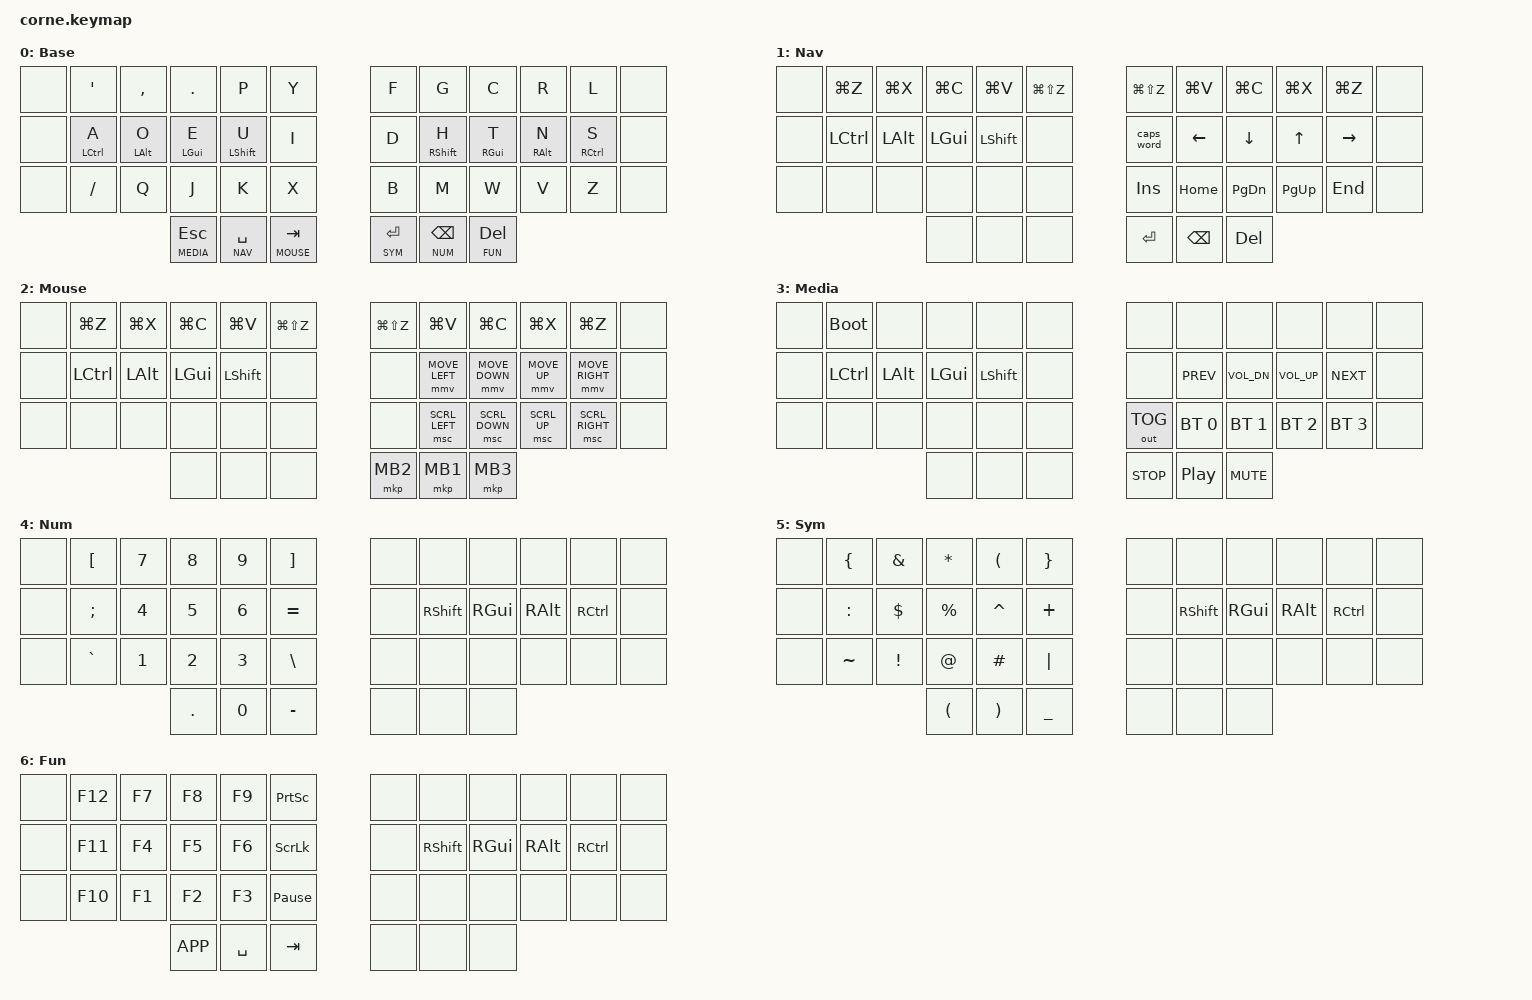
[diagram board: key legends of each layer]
/*
 * Copyright (c) 2020 The ZMK Contributors
 *
 * SPDX-License-Identifier: MIT
 */

#include <behaviors.dtsi>
#include <dt-bindings/zmk/bt.h>
#include <dt-bindings/zmk/keys.h>
#include <dt-bindings/zmk/mouse.h>
#include <dt-bindings/zmk/outputs.h>

// Layer indices
#define BASE  0
#define NAV   1
#define MOUSE 2
#define MEDIA 3
#define NUM   4
#define SYM   5
#define FUN   6

// macOS clipboard shortcuts (change LG to LC for Linux/Windows)
#define U_UNDO LG(Z)
#define U_REDO LG(LS(Z))
#define U_CUT  LG(X)
#define U_COPY LG(C)
#define U_PSTE LG(V)

/ {
    behaviors {
        hm: homerow_mods {
            compatible = "zmk,behavior-hold-tap";
            #binding-cells = <2>;
            flavor = "balanced";
            tapping-term-ms = <150>;
            quick-tap-ms = <50>;
            require-prior-idle-ms = <150>;
            bindings = <&kp>, <&kp>;
        };
    };

    keymap {
        compatible = "zmk,keymap";

        base_layer {
            display-name = "Base";
            bindings = <
&none  &kp SQT       &kp COMMA     &kp DOT       &kp P         &kp Y          &kp F        &kp G         &kp C         &kp R        &kp L        &none
&none  &hm LCTRL A   &hm LALT O    &hm LGUI E    &hm LSHFT U   &kp I          &kp D        &hm RSHFT H   &hm RGUI T    &hm RALT N   &hm RCTRL S  &none
&none  &kp FSLH      &kp Q         &kp J         &kp K         &kp X          &kp B        &kp M         &kp W         &kp V        &kp Z        &none
                                    &lt MEDIA ESC &lt NAV SPACE &lt MOUSE TAB  &lt SYM RET  &lt NUM BSPC  &lt FUN DEL
            >;
        };

        nav_layer {
            display-name = "Nav";
            bindings = <
&none  &kp U_UNDO &kp U_CUT  &kp U_COPY  &kp U_PSTE  &kp U_REDO   &kp U_REDO   &kp U_PSTE  &kp U_COPY  &kp U_CUT   &kp U_UNDO  &none
&none  &kp LCTRL  &kp LALT   &kp LGUI    &kp LSHFT   &none        &caps_word   &kp LEFT    &kp DOWN    &kp UP      &kp RIGHT   &none
&none  &none      &none      &none       &none       &none        &kp INS      &kp HOME    &kp PG_DN   &kp PG_UP   &kp END     &none
                              &none       &none       &none        &kp RET      &kp BSPC    &kp DEL
            >;
        };

        mouse_layer {
            display-name = "Mouse";
            bindings = <
&none  &kp U_UNDO &kp U_CUT  &kp U_COPY  &kp U_PSTE  &kp U_REDO   &kp U_REDO      &kp U_PSTE      &kp U_COPY      &kp U_CUT       &kp U_UNDO      &none
&none  &kp LCTRL  &kp LALT   &kp LGUI    &kp LSHFT   &none        &none           &mmv MOVE_LEFT  &mmv MOVE_DOWN  &mmv MOVE_UP    &mmv MOVE_RIGHT &none
&none  &none      &none      &none       &none       &none        &none           &msc SCRL_LEFT  &msc SCRL_DOWN  &msc SCRL_UP    &msc SCRL_RIGHT &none
                              &none       &none       &none        &mkp MB2        &mkp MB1        &mkp MB3
            >;
        };

        media_layer {
            display-name = "Media";
            bindings = <
&none  &bootloader &none      &none       &none       &none        &none          &none          &none          &none          &none          &none
&none  &kp LCTRL   &kp LALT   &kp LGUI    &kp LSHFT   &none        &none          &kp C_PREV     &kp C_VOL_DN   &kp C_VOL_UP   &kp C_NEXT     &none
&none  &none       &none      &none       &none       &none        &out OUT_TOG   &bt BT_SEL 0   &bt BT_SEL 1   &bt BT_SEL 2   &bt BT_SEL 3   &none
                              &none       &none       &none        &kp C_STOP     &kp C_PP       &kp C_MUTE
            >;
        };

        num_layer {
            display-name = "Num";
            bindings = <
&none  &kp LBKT   &kp N7     &kp N8      &kp N9      &kp RBKT     &none       &none       &none       &none      &none      &none
&none  &kp SEMI   &kp N4     &kp N5      &kp N6      &kp EQUAL    &none       &kp RSHFT   &kp RGUI    &kp RALT   &kp RCTRL   &none
&none  &kp GRAVE  &kp N1     &kp N2      &kp N3      &kp BSLH     &none       &none       &none       &none      &none      &none
                              &kp DOT     &kp N0      &kp MINUS    &none       &none       &none
            >;
        };

        sym_layer {
            display-name = "Sym";
            bindings = <
&none  &kp LBRC   &kp AMPS   &kp ASTRK   &kp LPAR    &kp RBRC     &none       &none       &none       &none      &none      &none
&none  &kp COLON  &kp DLLR   &kp PRCNT   &kp CARET   &kp PLUS     &none       &kp RSHFT   &kp RGUI    &kp RALT   &kp RCTRL   &none
&none  &kp TILDE  &kp EXCL   &kp AT      &kp HASH    &kp PIPE     &none       &none       &none       &none      &none      &none
                              &kp LPAR    &kp RPAR    &kp UNDER    &none       &none       &none
            >;
        };

        fun_layer {
            display-name = "Fun";
            bindings = <
&none  &kp F12    &kp F7     &kp F8      &kp F9      &kp PSCRN        &none       &none       &none       &none      &none      &none
&none  &kp F11    &kp F4     &kp F5      &kp F6      &kp SLCK         &none       &kp RSHFT   &kp RGUI    &kp RALT   &kp RCTRL   &none
&none  &kp F10    &kp F1     &kp F2      &kp F3      &kp PAUSE_BREAK  &none       &none       &none       &none      &none      &none
                              &kp K_APP   &kp SPACE   &kp TAB          &none       &none       &none
            >;
        };

        extra_1 { status = "reserved"; };

        extra_2 { status = "reserved"; };

        extra_3 { status = "reserved"; };
    };
};
